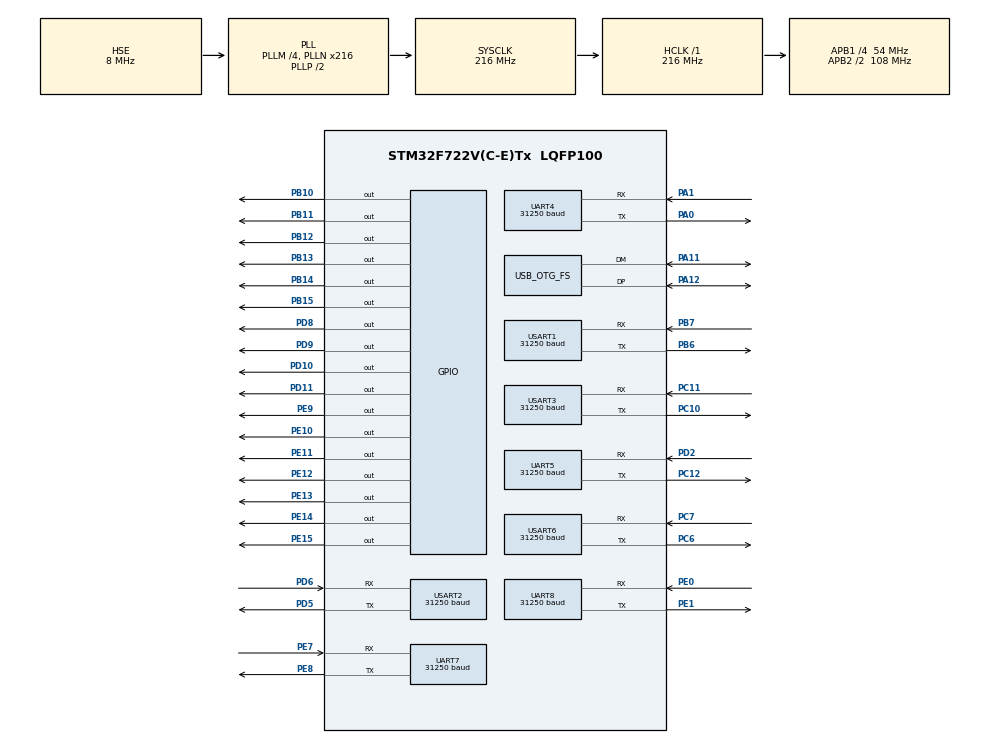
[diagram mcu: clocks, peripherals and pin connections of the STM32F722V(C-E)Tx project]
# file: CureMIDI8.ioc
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CORTEX_M7.ART_ACCLERATOR_ENABLE=1
CORTEX_M7.CPU_DCache=Enabled
CORTEX_M7.CPU_ICache=Enabled
CORTEX_M7.FlashInterface=AXI_Enabled
Dma.Request0=UART5_RX
Dma.Request1=UART7_RX
Dma.Request2=UART8_RX
Dma.Request3=USART2_RX
Dma.Request4=USART3_RX
Dma.Request5=USART1_RX
Dma.Request6=USART6_RX
Dma.Request7=UART4_RX
Dma.UART4_RX.7.Direction=DMA_PERIPH_TO_MEMORY
Dma.UART4_RX.7.FIFOMode=DMA_FIFOMODE_DISABLE
Dma.UART4_RX.7.Instance=DMA1_Stream2
Dma.UART4_RX.7.MemDataAlignment=DMA_MDATAALIGN_BYTE
Dma.UART4_RX.7.MemInc=DMA_MINC_ENABLE
Dma.UART4_RX.7.Mode=DMA_NORMAL
Dma.UART4_RX.7.PeriphDataAlignment=DMA_PDATAALIGN_BYTE
Dma.UART4_RX.7.PeriphInc=DMA_PINC_DISABLE
Dma.UART4_RX.7.Priority=DMA_PRIORITY_LOW
Dma.UART5_RX.0.Direction=DMA_PERIPH_TO_MEMORY
Dma.UART5_RX.0.FIFOMode=DMA_FIFOMODE_DISABLE
Dma.UART5_RX.0.Instance=DMA1_Stream0
Dma.UART5_RX.0.MemDataAlignment=DMA_MDATAALIGN_BYTE
Dma.UART5_RX.0.MemInc=DMA_MINC_ENABLE
Dma.UART5_RX.0.Mode=DMA_NORMAL
Dma.UART5_RX.0.PeriphDataAlignment=DMA_PDATAALIGN_BYTE
Dma.UART5_RX.0.PeriphInc=DMA_PINC_DISABLE
Dma.UART5_RX.0.Priority=DMA_PRIORITY_LOW
Dma.UART7_RX.1.Direction=DMA_PERIPH_TO_MEMORY
Dma.UART7_RX.1.FIFOMode=DMA_FIFOMODE_DISABLE
Dma.UART7_RX.1.Instance=DMA1_Stream3
Dma.UART7_RX.1.MemDataAlignment=DMA_MDATAALIGN_BYTE
Dma.UART7_RX.1.MemInc=DMA_MINC_ENABLE
Dma.UART7_RX.1.Mode=DMA_NORMAL
Dma.UART7_RX.1.PeriphDataAlignment=DMA_PDATAALIGN_BYTE
Dma.UART7_RX.1.PeriphInc=DMA_PINC_DISABLE
Dma.UART7_RX.1.Priority=DMA_PRIORITY_LOW
Dma.UART8_RX.2.Direction=DMA_PERIPH_TO_MEMORY
Dma.UART8_RX.2.FIFOMode=DMA_FIFOMODE_DISABLE
Dma.UART8_RX.2.Instance=DMA1_Stream6
Dma.UART8_RX.2.MemDataAlignment=DMA_MDATAALIGN_BYTE
Dma.UART8_RX.2.MemInc=DMA_MINC_ENABLE
Dma.UART8_RX.2.Mode=DMA_NORMAL
Dma.UART8_RX.2.PeriphDataAlignment=DMA_PDATAALIGN_BYTE
Dma.UART8_RX.2.PeriphInc=DMA_PINC_DISABLE
Dma.UART8_RX.2.Priority=DMA_PRIORITY_LOW
Dma.USART1_RX.5.Direction=DMA_PERIPH_TO_MEMORY
Dma.USART1_RX.5.FIFOMode=DMA_FIFOMODE_DISABLE
Dma.USART1_RX.5.Instance=DMA2_Stream2
Dma.USART1_RX.5.MemDataAlignment=DMA_MDATAALIGN_BYTE
Dma.USART1_RX.5.MemInc=DMA_MINC_ENABLE
Dma.USART1_RX.5.Mode=DMA_NORMAL
Dma.USART1_RX.5.PeriphDataAlignment=DMA_PDATAALIGN_BYTE
Dma.USART1_RX.5.PeriphInc=DMA_PINC_DISABLE
Dma.USART1_RX.5.Priority=DMA_PRIORITY_LOW
Dma.USART2_RX.3.Direction=DMA_PERIPH_TO_MEMORY
Dma.USART2_RX.3.FIFOMode=DMA_FIFOMODE_DISABLE
Dma.USART2_RX.3.Instance=DMA1_Stream5
Dma.USART2_RX.3.MemDataAlignment=DMA_MDATAALIGN_BYTE
Dma.USART2_RX.3.MemInc=DMA_MINC_ENABLE
Dma.USART2_RX.3.Mode=DMA_NORMAL
Dma.USART2_RX.3.PeriphDataAlignment=DMA_PDATAALIGN_BYTE
Dma.USART2_RX.3.PeriphInc=DMA_PINC_DISABLE
Dma.USART2_RX.3.Priority=DMA_PRIORITY_LOW
Dma.USART3_RX.4.Direction=DMA_PERIPH_TO_MEMORY
Dma.USART3_RX.4.FIFOMode=DMA_FIFOMODE_DISABLE
Dma.USART3_RX.4.Instance=DMA1_Stream1
Dma.USART3_RX.4.MemDataAlignment=DMA_MDATAALIGN_BYTE
Dma.USART3_RX.4.MemInc=DMA_MINC_ENABLE
Dma.USART3_RX.4.Mode=DMA_NORMAL
Dma.USART3_RX.4.PeriphDataAlignment=DMA_PDATAALIGN_BYTE
Dma.USART3_RX.4.PeriphInc=DMA_PINC_DISABLE
Dma.USART3_RX.4.Priority=DMA_PRIORITY_LOW
Dma.USART6_RX.6.Direction=DMA_PERIPH_TO_MEMORY
Dma.USART6_RX.6.FIFOMode=DMA_FIFOMODE_DISABLE
Dma.USART6_RX.6.Instance=DMA2_Stream1
Dma.USART6_RX.6.MemDataAlignment=DMA_MDATAALIGN_BYTE
Dma.USART6_RX.6.MemInc=DMA_MINC_ENABLE
Dma.USART6_RX.6.Mode=DMA_NORMAL
Dma.USART6_RX.6.PeriphDataAlignment=DMA_PDATAALIGN_BYTE
Dma.USART6_RX.6.PeriphInc=DMA_PINC_DISABLE
Dma.USART6_RX.6.Priority=DMA_PRIORITY_LOW
Mcu.Family=STM32F7
Mcu.Name=STM32F722V(C-E)Tx
Mcu.Package=LQFP100
NVIC.DMA1_Stream0_IRQn=true\:0\:0\:false\:false\:true\:false
NVIC.DMA1_Stream1_IRQn=true\:0\:0\:false\:false\:true\:false
NVIC.DMA1_Stream2_IRQn=true\:0\:0\:false\:false\:true\:false
NVIC.DMA1_Stream3_IRQn=true\:0\:0\:false\:false\:true\:false
NVIC.DMA1_Stream5_IRQn=true\:0\:0\:false\:false\:true\:false
NVIC.DMA1_Stream6_IRQn=true\:0\:0\:false\:false\:true\:false
NVIC.DMA2_Stream1_IRQn=true\:0\:0\:false\:false\:true\:false
NVIC.DMA2_Stream2_IRQn=true\:0\:0\:false\:false\:true\:false
NVIC.OTG_FS_IRQn=true\:0\:0\:false\:false\:true\:false
NVIC.PriorityGroup=NVIC_PRIORITYGROUP_4
NVIC.TIM7_IRQn=true\:0\:0\:false\:false\:true\:true
NVIC.UART4_IRQn=true\:0\:0\:false\:false\:true\:true
NVIC.UART5_IRQn=true\:0\:0\:false\:false\:true\:true
NVIC.UART7_IRQn=true\:0\:0\:false\:false\:true\:true
NVIC.UART8_IRQn=true\:0\:0\:false\:false\:true\:true
NVIC.USART1_IRQn=true\:0\:0\:false\:false\:true\:true
NVIC.USART2_IRQn=true\:0\:0\:false\:false\:true\:true
NVIC.USART3_IRQn=true\:0\:0\:false\:false\:true\:true
NVIC.USART6_IRQn=true\:0\:0\:false\:false\:true\:true
PA0-WKUP.Mode=Asynchronous
PA0-WKUP.Signal=UART4_TX
PA1.Mode=Asynchronous
PA1.Signal=UART4_RX
PA11.Mode=Device_Only
PA11.Signal=USB_OTG_FS_DM
PA12.Mode=Device_Only
PA12.Signal=USB_OTG_FS_DP
PA13.Mode=Trace_Asynchronous_SW
PA13.Signal=SYS_JTMS-SWDIO
PA14.Mode=Trace_Asynchronous_SW
PA14.Signal=SYS_JTCK-SWCLK
PB10.Signal=GPIO_Output
PB11.Signal=GPIO_Output
PB12.Signal=GPIO_Output
PB13.Signal=GPIO_Output
PB14.Signal=GPIO_Output
PB15.Signal=GPIO_Output
PB3.Mode=Trace_Asynchronous_SW
PB3.Signal=SYS_JTDO-SWO
PB6.Mode=Asynchronous
PB6.Signal=USART1_TX
PB7.Mode=Asynchronous
PB7.Signal=USART1_RX
PC10.Mode=Asynchronous
PC10.Signal=USART3_TX
PC11.Mode=Asynchronous
PC11.Signal=USART3_RX
PC12.Mode=Asynchronous
PC12.Signal=UART5_TX
PC6.Mode=Asynchronous
PC6.Signal=USART6_TX
PC7.Mode=Asynchronous
PC7.Signal=USART6_RX
PD10.Signal=GPIO_Output
PD11.Signal=GPIO_Output
PD2.Mode=Asynchronous
PD2.Signal=UART5_RX
PD5.Mode=Asynchronous
PD5.Signal=USART2_TX
PD6.Mode=Asynchronous
PD6.Signal=USART2_RX
PD8.Signal=GPIO_Output
PD9.Signal=GPIO_Output
PE0.Mode=Asynchronous
PE0.Signal=UART8_RX
PE1.Mode=Asynchronous
PE1.Signal=UART8_TX
PE10.Signal=GPIO_Output
PE11.Signal=GPIO_Output
PE12.Signal=GPIO_Output
PE13.Signal=GPIO_Output
PE14.Signal=GPIO_Output
PE15.Signal=GPIO_Output
PE7.Mode=Asynchronous
PE7.Signal=UART7_RX
PE8.Mode=Asynchronous
PE8.Signal=UART7_TX
PE9.Signal=GPIO_Output
PH0-OSC_IN.Mode=HSE-External-Oscillator
PH0-OSC_IN.Signal=RCC_OSC_IN
PH1-OSC_OUT.Mode=HSE-External-Oscillator
PH1-OSC_OUT.Signal=RCC_OSC_OUT
ProjectManager.HeapSize=0x200
ProjectManager.StackSize=0x400
ProjectManager.TargetToolchain=SW4STM32
RCC.AHBFreq_Value=216000000
RCC.APB1CLKDivider=RCC_HCLK_DIV4
RCC.APB1Freq_Value=54000000
RCC.APB1TimFreq_Value=108000000
RCC.APB2CLKDivider=RCC_HCLK_DIV2
RCC.APB2Freq_Value=108000000
RCC.APB2TimFreq_Value=216000000
RCC.CortexFreq_Value=216000000
RCC.HCLKFreq_Value=216000000
RCC.HSE_VALUE=8000000
RCC.HSI_VALUE=16000000
RCC.LSE_VALUE=32768
RCC.PLLM=4
RCC.PLLN=216
RCC.PLLQ=9
RCC.SYSCLKFreq_VALUE=216000000
RCC.SYSCLKSource=RCC_SYSCLKSOURCE_PLLCLK
RCC.USBFreq_Value=48000000
RCC.VCOOutputFreq_Value=432000000
TIM7.Period=215
TIM7.Prescaler=999
UART4.BaudRate=31250
UART5.BaudRate=31250
UART7.BaudRate=31250
UART8.BaudRate=31250
USART1.BaudRate=31250
USART1.VirtualMode-Asynchronous=VM_ASYNC
USART2.BaudRate=31250
USART2.VirtualMode-Asynchronous=VM_ASYNC
USART3.BaudRate=31250
USART3.VirtualMode-Asynchronous=VM_ASYNC
USART6.BaudRate=31250
USART6.VirtualMode=VM_ASYNC
USB_DEVICE.CLASS_NAME_FS=HID
USB_DEVICE.CONFIGURATION_STRING_HID_FS=MIDI Config
USB_DEVICE.INTERFACE_STRING_HID_FS=MIDI Interface
USB_DEVICE.LANGID_STRING-HID_FS=1033
USB_DEVICE.MANUFACTURER_STRING-HID_FS=keshikan.net
USB_DEVICE.PID_HID_FS=0x0001
USB_DEVICE.PRODUCT_STRING_HID_FS=CureMIDI8
USB_DEVICE.VID-HID_FS=0x1209
USB_DEVICE.VirtualMode-HID_FS=Hid
USB_DEVICE.VirtualModeFS=Hid_FS
USB_OTG_FS.VirtualMode=Device_Only
VP_TIM7_VS_ClockSourceINT.Mode=Enable_Timer
VP_USB_DEVICE_VS_USB_DEVICE_HID_FS.Mode=HID_FS
board=custom

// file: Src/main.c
/* USER CODE BEGIN Header */
/**
  ******************************************************************************
  * @file           : main.c
  * @brief          : Main program body
  ******************************************************************************
  * This notice applies to any and all portions of this file
  * that are not between comment pairs USER CODE BEGIN and
  * USER CODE END. Other portions of this file, whether
  * inserted by the user or by software development tools
  * are owned by their respective copyright owners.
  *
  * Copyright (c) 2019 STMicroelectronics International N.V.
  * All rights reserved.
  *
  * Redistribution and use in source and binary forms, with or without
  * modification, are permitted, provided that the following conditions are met:
  *
  * 1. Redistribution of source code must retain the above copyright notice,
  *    this list of conditions and the following disclaimer.
  * 2. Redistributions in binary form must reproduce the above copyright notice,
  *    this list of conditions and the following disclaimer in the documentation
  *    and/or other materials provided with the distribution.
  * 3. Neither the name of STMicroelectronics nor the names of other
  *    contributors to this software may be used to endorse or promote products
  *    derived from this software without specific written permission.
  * 4. This software, including modifications and/or derivative works of this
  *    software, must execute solely and exclusively on microcontroller or
  *    microprocessor devices manufactured by or for STMicroelectronics.
  * 5. Redistribution and use of this software other than as permitted under
  *    this license is void and will automatically terminate your rights under
  *    this license.
  *
  * THIS SOFTWARE IS PROVIDED BY STMICROELECTRONICS AND CONTRIBUTORS "AS IS"
  * AND ANY EXPRESS, IMPLIED OR STATUTORY WARRANTIES, INCLUDING, BUT NOT
  * LIMITED TO, THE IMPLIED WARRANTIES OF MERCHANTABILITY, FITNESS FOR A
  * PARTICULAR PURPOSE AND NON-INFRINGEMENT OF THIRD PARTY INTELLECTUAL PROPERTY
  * RIGHTS ARE DISCLAIMED TO THE FULLEST EXTENT PERMITTED BY LAW. IN NO EVENT
  * SHALL STMICROELECTRONICS OR CONTRIBUTORS BE LIABLE FOR ANY DIRECT, INDIRECT,
  * INCIDENTAL, SPECIAL, EXEMPLARY, OR CONSEQUENTIAL DAMAGES (INCLUDING, BUT NOT
  * LIMITED TO, PROCUREMENT OF SUBSTITUTE GOODS OR SERVICES; LOSS OF USE, DATA,
  * OR PROFITS; OR BUSINESS INTERRUPTION) HOWEVER CAUSED AND ON ANY THEORY OF
  * LIABILITY, WHETHER IN CONTRACT, STRICT LIABILITY, OR TORT (INCLUDING
  * NEGLIGENCE OR OTHERWISE) ARISING IN ANY WAY OUT OF THE USE OF THIS SOFTWARE,
  * EVEN IF ADVISED OF THE POSSIBILITY OF SUCH DAMAGE.
  *
  ******************************************************************************
  */
/* USER CODE END Header */

#include "main.h"
#include "usb_device.h"

/* USER CODE BEGIN Includes */
#include "device_conf.h"
#include "led_blink.h"
#include "curemisc.h"
#include "curebuffer.h"
#include "usbd_midi_if.h"

/* USER CODE END Includes */

TIM_HandleTypeDef htim7;

UART_HandleTypeDef huart4;
UART_HandleTypeDef huart5;
UART_HandleTypeDef huart7;
UART_HandleTypeDef huart8;
UART_HandleTypeDef huart1;
UART_HandleTypeDef huart2;
UART_HandleTypeDef huart3;
UART_HandleTypeDef huart6;
DMA_HandleTypeDef hdma_uart4_rx;
DMA_HandleTypeDef hdma_uart5_rx;
DMA_HandleTypeDef hdma_uart7_rx;
DMA_HandleTypeDef hdma_uart8_rx;
DMA_HandleTypeDef hdma_usart1_rx;
DMA_HandleTypeDef hdma_usart2_rx;
DMA_HandleTypeDef hdma_usart3_rx;
DMA_HandleTypeDef hdma_usart6_rx;

/* USER CODE BEGIN PV */
/* Private variables ---------------------------------------------------------*/

volatile bool isUartReady[MIDI_OUT_JACK_NUM];

//device porting for MIDI IN/OUT Jack
UART_HandleTypeDef* uart_handler[]=
{
		&MIDI_UART_HANDLER_1, &MIDI_UART_HANDLER_2, &MIDI_UART_HANDLER_3, &MIDI_UART_HANDLER_4,
		&MIDI_UART_HANDLER_5, &MIDI_UART_HANDLER_6, &MIDI_UART_HANDLER_7, &MIDI_UART_HANDLER_8
};

USART_TypeDef* uart_instance[]=
{
		UART_INSTANCE_PORT1, UART_INSTANCE_PORT2, UART_INSTANCE_PORT3, UART_INSTANCE_PORT4,
		UART_INSTANCE_PORT5, UART_INSTANCE_PORT6, UART_INSTANCE_PORT7, UART_INSTANCE_PORT8
};

uint8_t uart_tx_dat;

uint8_t uart_rx_dat[MIDI_IN_JACK_NUM];

/* USER CODE END PV */

void SystemClock_Config(void);
static void MX_GPIO_Init(void);
static void MX_DMA_Init(void);
static void MX_UART4_Init(void);
static void MX_UART5_Init(void);
static void MX_UART7_Init(void);
static void MX_UART8_Init(void);
static void MX_USART1_UART_Init(void);
static void MX_USART2_UART_Init(void);
static void MX_USART3_UART_Init(void);
static void MX_USART6_UART_Init(void);
static void MX_TIM7_Init(void);
/* USER CODE BEGIN PFP */
/* Private function prototypes -----------------------------------------------*/

/* USER CODE END PFP */

/* USER CODE BEGIN 0 */

void initMisc()
{
	for(uint32_t i=0; i<MIDI_OUT_JACK_NUM; i++){
		isUartReady[i] = true;
	}
}

void HAL_TIM_PeriodElapsedCallback(TIM_HandleTypeDef *htim)
{

	if(htim->Instance == TIM7)
	{
		ledIncrementState();
	}

}

void HAL_UART_RxCpltCallback(UART_HandleTypeDef *huart)
{

	for(uint32_t i=0; i<MIDI_IN_JACK_NUM; i++){
		if(huart->Instance == uart_instance[i]){
			ledActivate(i);
			midiSetFromJackRx(i, &uart_rx_dat[i]);
			HAL_UART_Receive_DMA(uart_handler[i], &uart_rx_dat[i],1);
			break;
		}
	}
}

void HAL_UART_TxCpltCallback(UART_HandleTypeDef *huart)
{
	for(uint32_t i=0; i<MIDI_OUT_JACK_NUM; i++){
		if(huart->Instance == uart_instance[i]){
			ledActivate(MIDI_IN_JACK_NUM+i);
			isUartReady[i] = true;
			break;
		}
	}
}

//call after
void sendUart(uint8_t ch, uint8_t* dat)
{
	isUartReady[ch] = false;
	  __disable_irq();
	HAL_UART_Transmit_IT(uart_handler[ch], dat,1);
	  __enable_irq();
}

/* USER CODE END 0 */

int main(void)
{

  /* Enable I-Cache---------------------------------------------------------*/
  SCB_EnableICache();

  /* Enable D-Cache---------------------------------------------------------*/
  SCB_EnableDCache();

  /* MCU Configuration--------------------------------------------------------*/

  /* Reset of all peripherals, Initializes the Flash interface and the Systick. */
  HAL_Init();

  /* Configure the system clock */
  SystemClock_Config();

  /* Initialize all configured peripherals */
  MX_GPIO_Init();
  MX_DMA_Init();
  MX_UART4_Init();
  MX_UART5_Init();
  MX_UART7_Init();
  MX_UART8_Init();
  MX_USART1_UART_Init();
  MX_USART2_UART_Init();
  MX_USART3_UART_Init();
  MX_USART6_UART_Init();
  MX_TIM7_Init();
  /* USER CODE BEGIN 2 */

  //USB-MIDI Init
  MX_USB_MIDI_INIT();

  //Init misc
  ledInit();
  initMisc();

  if(FUNC_ERROR == midiInit() ){
	  while(1){
		  HAL_GPIO_WritePin(LED_POW_GPIO, LED_POW_PIN, SET);
		  HAL_Delay(500);
		  HAL_GPIO_WritePin(LED_POW_GPIO, LED_POW_PIN, RESET);
		  HAL_Delay(500);
	  }
  }

  //Wait usb configuration.
  while(1){
	  if(USBD_STATE_CONFIGURED == hUsbDeviceFS.dev_state){
		  HAL_GPIO_WritePin(LED_POW_GPIO, LED_POW_PIN, SET);
		  break;
	  }else{
		  HAL_GPIO_WritePin(LED_POW_GPIO, LED_POW_PIN, RESET);
	  }
  }

  //start led-blinking timer
  HAL_TIM_Base_Start_IT(&htim7);

  //Start MIDI Receive from IN Jack
  for(uint32_t i=0; i<MIDI_IN_JACK_NUM; i++){
	  HAL_UART_Receive_DMA(uart_handler[i], &uart_rx_dat[i],1);
  }

  /* USER CODE END 2 */

  /* Infinite loop */
  while (1)
  {

    /* USER CODE BEGIN 3 */

	  //Wait USB configuration when USB connection error has occurred.
	  if(USBD_STATE_CONFIGURED != hUsbDeviceFS.dev_state){
		  while(1){
			  HAL_GPIO_WritePin(LED_POW_GPIO, LED_POW_PIN, SET);
			  HAL_Delay(200);
			  HAL_GPIO_WritePin(LED_POW_GPIO, LED_POW_PIN, RESET);
			  HAL_Delay(200);

			  if(USBD_STATE_CONFIGURED == hUsbDeviceFS.dev_state){
				  HAL_GPIO_WritePin(LED_POW_GPIO, LED_POW_PIN, SET);
				  break;
			  }
		  }
	  }

	  //MIDI-OUT: [USB-MIDI IN] to [MIDI JACK OUT]
		  for(uint32_t cable_num=0; cable_num<MIDI_OUT_JACK_NUM; cable_num++){
			  if( FUNC_SUCCESS == midiGetFromUsbRx(cable_num, &uart_tx_dat) ){
				  while(!isUartReady[cable_num]);
				  sendUart(cable_num, &uart_tx_dat);
			  }
		  }

	//MIDI-IN: [MIDI JACK IN] to [USB-MIDI OUT]
	midiInProcess();
	ledMain();

  }
  /* USER CODE END 3 */
}

void SystemClock_Config(void)
{
  RCC_OscInitTypeDef RCC_OscInitStruct = {0};
  RCC_ClkInitTypeDef RCC_ClkInitStruct = {0};
  RCC_PeriphCLKInitTypeDef PeriphClkInitStruct = {0};

  /**Configure the main internal regulator output voltage
  */
  __HAL_RCC_PWR_CLK_ENABLE();
  __HAL_PWR_VOLTAGESCALING_CONFIG(PWR_REGULATOR_VOLTAGE_SCALE1);
  /**Initializes the CPU, AHB and APB busses clocks
  */
  RCC_OscInitStruct.OscillatorType = RCC_OSCILLATORTYPE_HSE;
  RCC_OscInitStruct.HSEState = RCC_HSE_ON;
  RCC_OscInitStruct.PLL.PLLState = RCC_PLL_ON;
  RCC_OscInitStruct.PLL.PLLSource = RCC_PLLSOURCE_HSE;
  RCC_OscInitStruct.PLL.PLLM = 4;
  RCC_OscInitStruct.PLL.PLLN = 216;
  RCC_OscInitStruct.PLL.PLLP = RCC_PLLP_DIV2;
  RCC_OscInitStruct.PLL.PLLQ = 9;
  if (HAL_RCC_OscConfig(&RCC_OscInitStruct) != HAL_OK)
  {
    Error_Handler();
  }
  /**Activate the Over-Drive mode
  */
  if (HAL_PWREx_EnableOverDrive() != HAL_OK)
  {
    Error_Handler();
  }
  /**Initializes the CPU, AHB and APB busses clocks
  */
  RCC_ClkInitStruct.ClockType = RCC_CLOCKTYPE_HCLK|RCC_CLOCKTYPE_SYSCLK
                              |RCC_CLOCKTYPE_PCLK1|RCC_CLOCKTYPE_PCLK2;
  RCC_ClkInitStruct.SYSCLKSource = RCC_SYSCLKSOURCE_PLLCLK;
  RCC_ClkInitStruct.AHBCLKDivider = RCC_SYSCLK_DIV1;
  RCC_ClkInitStruct.APB1CLKDivider = RCC_HCLK_DIV4;
  RCC_ClkInitStruct.APB2CLKDivider = RCC_HCLK_DIV2;

  if (HAL_RCC_ClockConfig(&RCC_ClkInitStruct, FLASH_LATENCY_7) != HAL_OK)
  {
    Error_Handler();
  }
  PeriphClkInitStruct.PeriphClockSelection = RCC_PERIPHCLK_USART1|RCC_PERIPHCLK_USART2
                              |RCC_PERIPHCLK_USART3|RCC_PERIPHCLK_USART6
                              |RCC_PERIPHCLK_UART4|RCC_PERIPHCLK_UART5
                              |RCC_PERIPHCLK_UART7|RCC_PERIPHCLK_UART8
                              |RCC_PERIPHCLK_CLK48;
  PeriphClkInitStruct.Usart1ClockSelection = RCC_USART1CLKSOURCE_PCLK2;
  PeriphClkInitStruct.Usart2ClockSelection = RCC_USART2CLKSOURCE_PCLK1;
  PeriphClkInitStruct.Usart3ClockSelection = RCC_USART3CLKSOURCE_PCLK1;
  PeriphClkInitStruct.Uart4ClockSelection = RCC_UART4CLKSOURCE_PCLK1;
  PeriphClkInitStruct.Uart5ClockSelection = RCC_UART5CLKSOURCE_PCLK1;
  PeriphClkInitStruct.Usart6ClockSelection = RCC_USART6CLKSOURCE_PCLK2;
  PeriphClkInitStruct.Uart7ClockSelection = RCC_UART7CLKSOURCE_PCLK1;
  PeriphClkInitStruct.Uart8ClockSelection = RCC_UART8CLKSOURCE_PCLK1;
  PeriphClkInitStruct.Clk48ClockSelection = RCC_CLK48SOURCE_PLL;
  if (HAL_RCCEx_PeriphCLKConfig(&PeriphClkInitStruct) != HAL_OK)
  {
    Error_Handler();
  }
}

static void MX_TIM7_Init(void)
{

  TIM_MasterConfigTypeDef sMasterConfig = {0};

  htim7.Instance = TIM7;
  htim7.Init.Prescaler = 999;
  htim7.Init.CounterMode = TIM_COUNTERMODE_UP;
  htim7.Init.Period = 215;
  htim7.Init.AutoReloadPreload = TIM_AUTORELOAD_PRELOAD_DISABLE;
  if (HAL_TIM_Base_Init(&htim7) != HAL_OK)
  {
    Error_Handler();
  }
  sMasterConfig.MasterOutputTrigger = TIM_TRGO_RESET;
  sMasterConfig.MasterSlaveMode = TIM_MASTERSLAVEMODE_DISABLE;
  if (HAL_TIMEx_MasterConfigSynchronization(&htim7, &sMasterConfig) != HAL_OK)
  {
    Error_Handler();
  }

}

static void MX_UART4_Init(void)
{

  huart4.Instance = UART4;
  huart4.Init.BaudRate = 31250;
  huart4.Init.WordLength = UART_WORDLENGTH_8B;
  huart4.Init.StopBits = UART_STOPBITS_1;
  huart4.Init.Parity = UART_PARITY_NONE;
  huart4.Init.Mode = UART_MODE_TX_RX;
  huart4.Init.HwFlowCtl = UART_HWCONTROL_NONE;
  huart4.Init.OverSampling = UART_OVERSAMPLING_16;
  huart4.Init.OneBitSampling = UART_ONE_BIT_SAMPLE_DISABLE;
  huart4.AdvancedInit.AdvFeatureInit = UART_ADVFEATURE_NO_INIT;
  if (HAL_UART_Init(&huart4) != HAL_OK)
  {
    Error_Handler();
  }

}

static void MX_UART5_Init(void)
{

  huart5.Instance = UART5;
  huart5.Init.BaudRate = 31250;
  huart5.Init.WordLength = UART_WORDLENGTH_8B;
  huart5.Init.StopBits = UART_STOPBITS_1;
  huart5.Init.Parity = UART_PARITY_NONE;
  huart5.Init.Mode = UART_MODE_TX_RX;
  huart5.Init.HwFlowCtl = UART_HWCONTROL_NONE;
  huart5.Init.OverSampling = UART_OVERSAMPLING_16;
  huart5.Init.OneBitSampling = UART_ONE_BIT_SAMPLE_DISABLE;
  huart5.AdvancedInit.AdvFeatureInit = UART_ADVFEATURE_NO_INIT;
  if (HAL_UART_Init(&huart5) != HAL_OK)
  {
    Error_Handler();
  }

}

static void MX_UART7_Init(void)
{

  huart7.Instance = UART7;
  huart7.Init.BaudRate = 31250;
  huart7.Init.WordLength = UART_WORDLENGTH_8B;
  huart7.Init.StopBits = UART_STOPBITS_1;
  huart7.Init.Parity = UART_PARITY_NONE;
  huart7.Init.Mode = UART_MODE_TX_RX;
  huart7.Init.HwFlowCtl = UART_HWCONTROL_NONE;
  huart7.Init.OverSampling = UART_OVERSAMPLING_16;
  huart7.Init.OneBitSampling = UART_ONE_BIT_SAMPLE_DISABLE;
  huart7.AdvancedInit.AdvFeatureInit = UART_ADVFEATURE_NO_INIT;
  if (HAL_UART_Init(&huart7) != HAL_OK)
  {
    Error_Handler();
  }

}

static void MX_UART8_Init(void)
{

  huart8.Instance = UART8;
  huart8.Init.BaudRate = 31250;
  huart8.Init.WordLength = UART_WORDLENGTH_8B;
  huart8.Init.StopBits = UART_STOPBITS_1;
  huart8.Init.Parity = UART_PARITY_NONE;
  huart8.Init.Mode = UART_MODE_TX_RX;
  huart8.Init.HwFlowCtl = UART_HWCONTROL_NONE;
  huart8.Init.OverSampling = UART_OVERSAMPLING_16;
  huart8.Init.OneBitSampling = UART_ONE_BIT_SAMPLE_DISABLE;
  huart8.AdvancedInit.AdvFeatureInit = UART_ADVFEATURE_NO_INIT;
  if (HAL_UART_Init(&huart8) != HAL_OK)
  {
    Error_Handler();
  }

}

static void MX_USART1_UART_Init(void)
{

  huart1.Instance = USART1;
  huart1.Init.BaudRate = 31250;
  huart1.Init.WordLength = UART_WORDLENGTH_8B;
  huart1.Init.StopBits = UART_STOPBITS_1;
  huart1.Init.Parity = UART_PARITY_NONE;
  huart1.Init.Mode = UART_MODE_TX_RX;
  huart1.Init.HwFlowCtl = UART_HWCONTROL_NONE;
  huart1.Init.OverSampling = UART_OVERSAMPLING_16;
  huart1.Init.OneBitSampling = UART_ONE_BIT_SAMPLE_DISABLE;
  huart1.AdvancedInit.AdvFeatureInit = UART_ADVFEATURE_NO_INIT;
  if (HAL_UART_Init(&huart1) != HAL_OK)
  {
    Error_Handler();
  }

}

static void MX_USART2_UART_Init(void)
{

  huart2.Instance = USART2;
  huart2.Init.BaudRate = 31250;
  huart2.Init.WordLength = UART_WORDLENGTH_8B;
  huart2.Init.StopBits = UART_STOPBITS_1;
  huart2.Init.Parity = UART_PARITY_NONE;
  huart2.Init.Mode = UART_MODE_TX_RX;
  huart2.Init.HwFlowCtl = UART_HWCONTROL_NONE;
  huart2.Init.OverSampling = UART_OVERSAMPLING_16;
  huart2.Init.OneBitSampling = UART_ONE_BIT_SAMPLE_DISABLE;
  huart2.AdvancedInit.AdvFeatureInit = UART_ADVFEATURE_NO_INIT;
  if (HAL_UART_Init(&huart2) != HAL_OK)
  {
    Error_Handler();
  }

}

static void MX_USART3_UART_Init(void)
{

  huart3.Instance = USART3;
  huart3.Init.BaudRate = 31250;
  huart3.Init.WordLength = UART_WORDLENGTH_8B;
  huart3.Init.StopBits = UART_STOPBITS_1;
  huart3.Init.Parity = UART_PARITY_NONE;
  huart3.Init.Mode = UART_MODE_TX_RX;
  huart3.Init.HwFlowCtl = UART_HWCONTROL_NONE;
  huart3.Init.OverSampling = UART_OVERSAMPLING_16;
  huart3.Init.OneBitSampling = UART_ONE_BIT_SAMPLE_DISABLE;
  huart3.AdvancedInit.AdvFeatureInit = UART_ADVFEATURE_NO_INIT;
  if (HAL_UART_Init(&huart3) != HAL_OK)
  {
    Error_Handler();
  }

}

static void MX_USART6_UART_Init(void)
{

  huart6.Instance = USART6;
  huart6.Init.BaudRate = 31250;
  huart6.Init.WordLength = UART_WORDLENGTH_8B;
  huart6.Init.StopBits = UART_STOPBITS_1;
  huart6.Init.Parity = UART_PARITY_NONE;
  huart6.Init.Mode = UART_MODE_TX_RX;
  huart6.Init.HwFlowCtl = UART_HWCONTROL_NONE;
  huart6.Init.OverSampling = UART_OVERSAMPLING_16;
  huart6.Init.OneBitSampling = UART_ONE_BIT_SAMPLE_DISABLE;
  huart6.AdvancedInit.AdvFeatureInit = UART_ADVFEATURE_NO_INIT;
  if (HAL_UART_Init(&huart6) != HAL_OK)
  {
    Error_Handler();
  }

}

static void MX_DMA_Init(void)
{
  /* DMA controller clock enable */
  __HAL_RCC_DMA1_CLK_ENABLE();
  __HAL_RCC_DMA2_CLK_ENABLE();

  /* DMA interrupt init */
  /* DMA1_Stream0_IRQn interrupt configuration */
  HAL_NVIC_SetPriority(DMA1_Stream0_IRQn, 0, 0);
  HAL_NVIC_EnableIRQ(DMA1_Stream0_IRQn);
  /* DMA1_Stream1_IRQn interrupt configuration */
  HAL_NVIC_SetPriority(DMA1_Stream1_IRQn, 0, 0);
  HAL_NVIC_EnableIRQ(DMA1_Stream1_IRQn);
  /* DMA1_Stream2_IRQn interrupt configuration */
  HAL_NVIC_SetPriority(DMA1_Stream2_IRQn, 0, 0);
  HAL_NVIC_EnableIRQ(DMA1_Stream2_IRQn);
  /* DMA1_Stream3_IRQn interrupt configuration */
  HAL_NVIC_SetPriority(DMA1_Stream3_IRQn, 0, 0);
  HAL_NVIC_EnableIRQ(DMA1_Stream3_IRQn);
  /* DMA1_Stream5_IRQn interrupt configuration */
  HAL_NVIC_SetPriority(DMA1_Stream5_IRQn, 0, 0);
  HAL_NVIC_EnableIRQ(DMA1_Stream5_IRQn);
  /* DMA1_Stream6_IRQn interrupt configuration */
  HAL_NVIC_SetPriority(DMA1_Stream6_IRQn, 0, 0);
  HAL_NVIC_EnableIRQ(DMA1_Stream6_IRQn);
  /* DMA2_Stream1_IRQn interrupt configuration */
  HAL_NVIC_SetPriority(DMA2_Stream1_IRQn, 0, 0);
  HAL_NVIC_EnableIRQ(DMA2_Stream1_IRQn);
  /* DMA2_Stream2_IRQn interrupt configuration */
  HAL_NVIC_SetPriority(DMA2_Stream2_IRQn, 0, 0);
  HAL_NVIC_EnableIRQ(DMA2_Stream2_IRQn);

}

static void MX_GPIO_Init(void)
{
  GPIO_InitTypeDef GPIO_InitStruct = {0};

  /* GPIO Ports Clock Enable */
  __HAL_RCC_GPIOH_CLK_ENABLE();
  __HAL_RCC_GPIOA_CLK_ENABLE();
  __HAL_RCC_GPIOE_CLK_ENABLE();
  __HAL_RCC_GPIOB_CLK_ENABLE();
  __HAL_RCC_GPIOD_CLK_ENABLE();
  __HAL_RCC_GPIOC_CLK_ENABLE();

  /*Configure GPIO pin Output Level */
  HAL_GPIO_WritePin(GPIOE, GPIO_PIN_9|GPIO_PIN_10|GPIO_PIN_11|GPIO_PIN_12
                          |GPIO_PIN_13|GPIO_PIN_14|GPIO_PIN_15, GPIO_PIN_RESET);

  /*Configure GPIO pin Output Level */
  HAL_GPIO_WritePin(GPIOB, GPIO_PIN_10|GPIO_PIN_11|GPIO_PIN_12|GPIO_PIN_13
                          |GPIO_PIN_14|GPIO_PIN_15, GPIO_PIN_RESET);

  /*Configure GPIO pin Output Level */
  HAL_GPIO_WritePin(GPIOD, GPIO_PIN_8|GPIO_PIN_9|GPIO_PIN_10|GPIO_PIN_11, GPIO_PIN_RESET);

  /*Configure GPIO pins : PE9 PE10 PE11 PE12
                           PE13 PE14 PE15 */
  GPIO_InitStruct.Pin = GPIO_PIN_9|GPIO_PIN_10|GPIO_PIN_11|GPIO_PIN_12
                          |GPIO_PIN_13|GPIO_PIN_14|GPIO_PIN_15;
  GPIO_InitStruct.Mode = GPIO_MODE_OUTPUT_PP;
  GPIO_InitStruct.Pull = GPIO_NOPULL;
  GPIO_InitStruct.Speed = GPIO_SPEED_FREQ_LOW;
  HAL_GPIO_Init(GPIOE, &GPIO_InitStruct);

  /*Configure GPIO pins : PB10 PB11 PB12 PB13
                           PB14 PB15 */
  GPIO_InitStruct.Pin = GPIO_PIN_10|GPIO_PIN_11|GPIO_PIN_12|GPIO_PIN_13
                          |GPIO_PIN_14|GPIO_PIN_15;
  GPIO_InitStruct.Mode = GPIO_MODE_OUTPUT_PP;
  GPIO_InitStruct.Pull = GPIO_NOPULL;
  GPIO_InitStruct.Speed = GPIO_SPEED_FREQ_LOW;
  HAL_GPIO_Init(GPIOB, &GPIO_InitStruct);

  /*Configure GPIO pins : PD8 PD9 PD10 PD11 */
  GPIO_InitStruct.Pin = GPIO_PIN_8|GPIO_PIN_9|GPIO_PIN_10|GPIO_PIN_11;
  GPIO_InitStruct.Mode = GPIO_MODE_OUTPUT_PP;
  GPIO_InitStruct.Pull = GPIO_NOPULL;
  GPIO_InitStruct.Speed = GPIO_SPEED_FREQ_LOW;
  HAL_GPIO_Init(GPIOD, &GPIO_InitStruct);

}

void Error_Handler(void)
{
  while(1)
  {
  }
}

/************************ (C) COPYRIGHT STMicroelectronics *****END OF FILE****/
